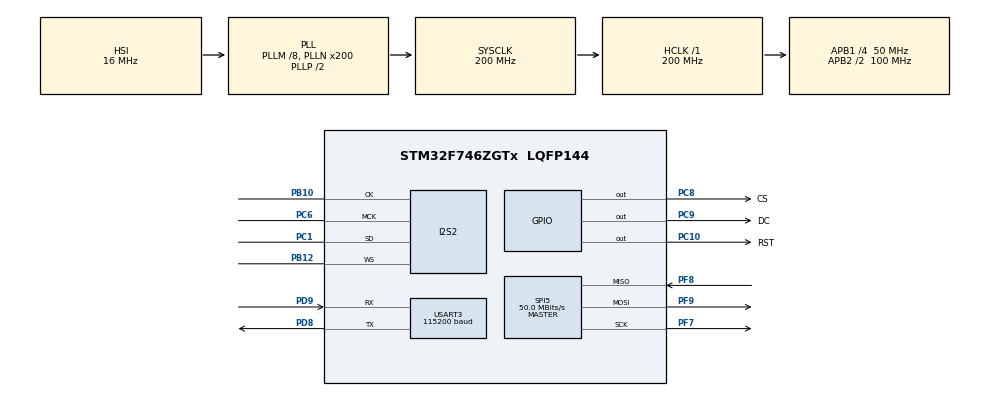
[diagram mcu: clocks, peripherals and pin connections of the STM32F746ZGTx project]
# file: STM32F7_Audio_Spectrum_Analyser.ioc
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CORTEX_M7.ART_ACCELERATOR_ENABLE=1
CORTEX_M7.CPU_DCache=Enabled
CORTEX_M7.CPU_ICache=Enabled
CORTEX_M7.PREFETCH_ENABLE=1
Dma.Request0=SPI2_RX
Dma.SPI2_RX.0.Direction=DMA_PERIPH_TO_MEMORY
Dma.SPI2_RX.0.FIFOMode=DMA_FIFOMODE_DISABLE
Dma.SPI2_RX.0.Instance=DMA1_Stream3
Dma.SPI2_RX.0.MemDataAlignment=DMA_MDATAALIGN_HALFWORD
Dma.SPI2_RX.0.MemInc=DMA_MINC_ENABLE
Dma.SPI2_RX.0.Mode=DMA_CIRCULAR
Dma.SPI2_RX.0.PeriphDataAlignment=DMA_PDATAALIGN_HALFWORD
Dma.SPI2_RX.0.PeriphInc=DMA_PINC_DISABLE
Dma.SPI2_RX.0.Priority=DMA_PRIORITY_VERY_HIGH
I2S2.AudioFreq=I2S_AUDIOFREQ_48K
I2S2.ErrorAudioFreq=1.72 %
I2S2.FullDuplexMode=I2S_FULLDUPLEXMODE_DISABLE
I2S2.Instance=SPI$Index
I2S2.Mode=I2S_MODE_MASTER_RX
I2S2.RealAudioFreq=48.828 KHz
I2S2.VirtualMode=I2S_MODE_MASTER
Mcu.Family=STM32F7
Mcu.Name=STM32F746ZGTx
Mcu.Package=LQFP144
NVIC.DMA1_Stream3_IRQn=true\:0\:0\:false\:false\:true\:false\:true\:true
NVIC.PriorityGroup=NVIC_PRIORITYGROUP_4
PA13.Mode=Serial_Wire
PA13.Signal=SYS_JTMS-SWDIO
PA14.Mode=Serial_Wire
PA14.Signal=SYS_JTCK-SWCLK
PB10.Mode=Half_Duplex_Master
PB10.Signal=I2S2_CK
PB12.Mode=Half_Duplex_Master
PB12.Signal=I2S2_WS
PC1.Mode=Half_Duplex_Master
PC1.Signal=I2S2_SD
PC10.GPIO_Label=RST
PC10.GPIO_Speed=GPIO_SPEED_FREQ_VERY_HIGH
PC10.Signal=GPIO_Output
PC6.Mode=Master_Clock_Activated
PC6.Signal=I2S2_MCK
PC8.GPIO_Label=CS
PC8.GPIO_Speed=GPIO_SPEED_FREQ_VERY_HIGH
PC8.Signal=GPIO_Output
PC9.GPIO_Label=DC
PC9.GPIO_Speed=GPIO_SPEED_FREQ_VERY_HIGH
PC9.Signal=GPIO_Output
PD8.Mode=Asynchronous
PD8.Signal=USART3_TX
PD9.Mode=Asynchronous
PD9.Signal=USART3_RX
PF7.Mode=Full_Duplex_Master
PF7.Signal=SPI5_SCK
PF8.Mode=Full_Duplex_Master
PF8.Signal=SPI5_MISO
PF9.Mode=Full_Duplex_Master
PF9.Signal=SPI5_MOSI
ProjectManager.HeapSize=0x200
ProjectManager.StackSize=0x400
ProjectManager.TargetToolchain=STM32CubeIDE
RCC.AHBFreq_Value=200000000
RCC.APB1CLKDivider=RCC_HCLK_DIV4
RCC.APB1Freq_Value=50000000
RCC.APB1TimFreq_Value=100000000
RCC.APB2CLKDivider=RCC_HCLK_DIV2
RCC.APB2Freq_Value=100000000
RCC.APB2TimFreq_Value=200000000
RCC.CortexFreq_Value=200000000
RCC.HCLKFreq_Value=200000000
RCC.HSE_VALUE=25000000
RCC.HSI_VALUE=16000000
RCC.LSE_VALUE=32768
RCC.PLLI2SN=200
RCC.PLLM=8
RCC.PLLN=200
RCC.SYSCLKFreq_VALUE=200000000
RCC.SYSCLKSource=RCC_SYSCLKSOURCE_PLLCLK
RCC.USBFreq_Value=200000000
RCC.VCOOutputFreq_Value=400000000
SPI5.BaudRatePrescaler=SPI_BAUDRATEPRESCALER_2
SPI5.CalculateBaudRate=50.0 MBits/s
SPI5.DataSize=SPI_DATASIZE_8BIT
SPI5.Direction=SPI_DIRECTION_2LINES
SPI5.Mode=SPI_MODE_MASTER
SPI5.NSSPMode=SPI_NSS_PULSE_DISABLE
SPI5.VirtualType=VM_MASTER
TIM1.ClockDivision=TIM_CLOCKDIVISION_DIV2
TIM1.Prescaler=10000
USART3.BaudRate=115200
USART3.Mode=MODE_TX_RX
USART3.VirtualMode-Asynchronous=VM_ASYNC
VP_TIM1_VS_ClockSourceINT.Mode=Internal
board=custom

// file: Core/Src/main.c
/* USER CODE BEGIN Header */
/**
  ******************************************************************************
  * @file           : main.c
  * @brief          : Main program body
  ******************************************************************************
  * @attention
  *
  * Copyright (c) 2023 STMicroelectronics.
  * All rights reserved.
  *
  * This software is licensed under terms that can be found in the LICENSE file
  * in the root directory of this software component.
  * If no LICENSE file comes with this software, it is provided AS-IS.
  *
  ******************************************************************************
  */
/* USER CODE END Header */
#include "main.h"

/* USER CODE BEGIN Includes */
#include "spi.h"
#include "gpio.h"
#include "tim.h"
#include <stdio.h>
#include "led.h"
#define ARM_MATH_CM7
#include "arm_math.h"
#include "ILI9341_STM32_Driver.h"
#include "ILI9341_GFX.h"

/* USER CODE END Includes */

/* USER CODE BEGIN PD */
#define ADC_BUFFER_SIZE 16384 // Buffer size to store data for processing, higher buffer creates larger latency
#define FFT_BUFFER_SIZE 4096
#define GPIOC_CLK_EN	(1U<<2)
#define PIN13	(1U<<13)
#define BTN_PIN	PIN13

/* USER CODE END PD */

I2S_HandleTypeDef hi2s2;
DMA_HandleTypeDef hdma_spi2_rx;

//SPI_HandleTypeDef hspi5;

//TIM_HandleTypeDef htim1;

UART_HandleTypeDef huart3;

/* USER CODE BEGIN PV */
const float INT16_TO_FLOAT = 1.0f/(32768.0f);
const float FLOAT_TO_INT16 = 32768.0f;

float real_fsample = 49350; // MEASURED WITH OSCILLOSCOPE
float fftBufIn[FFT_BUFFER_SIZE];
float fftBufOut[FFT_BUFFER_SIZE];
float freq_prev;
float fft_in_buf[FFT_BUFFER_SIZE];
float fft_out_buf[FFT_BUFFER_SIZE];

uint8_t fftFlag = 0; // When FFT is complete
uint8_t outarray[14];
uint8_t button = 0;
uint8_t dataReadyFlag = 0;

uint16_t leftOut = 0;
uint16_t rightOut = 0;
uint16_t inBufPtr; // Processing ptr
uint16_t freqs_prev[FFT_BUFFER_SIZE/2];

int16_t rxBuf[ADC_BUFFER_SIZE];  // DMA stream for data
int16_t txBuf[ADC_BUFFER_SIZE];

/* USER CODE END PV */

void SystemClock_Config(void);
//static void MX_GPIO_Init(void);
static void MX_DMA_Init(void);
static void MX_USART3_UART_Init(void);
static void MX_I2S2_Init(void);
//static void MX_SPI5_Init(void);
//static void MX_TIM1_Init(void);
/* USER CODE BEGIN PFP */
arm_rfft_fast_instance_f32 fft_handler;
void PeriphCommonClock_Config(void);
void MX_GPIO_Init(void);
void MX_SPI5_Init(void);

/* USER CODE END PFP */

/* USER CODE BEGIN 0 */
void PeriphCommonClock_Config(void) //Disappears when I2S1 disabled
{
  RCC_PeriphCLKInitTypeDef PeriphClkInitStruct = {0};

  /** Initializes the peripherals clock
  */
  PeriphClkInitStruct.PeriphClockSelection = RCC_PERIPHCLK_I2S;
  PeriphClkInitStruct.PLLI2S.PLLI2SN = 100;
  PeriphClkInitStruct.PLLI2S.PLLI2SP = RCC_PLLP_DIV2;
  PeriphClkInitStruct.PLLI2S.PLLI2SR = 2;
  PeriphClkInitStruct.PLLI2S.PLLI2SQ = 2;
  PeriphClkInitStruct.PLLI2SDivQ = 1;
  PeriphClkInitStruct.I2sClockSelection = RCC_I2SCLKSOURCE_PLLI2S;
  if (HAL_RCCEx_PeriphCLKConfig(&PeriphClkInitStruct) != HAL_OK)
  {
    Error_Handler();
  }
}

void DoFFT() {
	//Do FFT
	arm_rfft_fast_f32(&fft_handler, fft_in_buf, fft_out_buf,0);

	uint16_t peakVal = 0;
	int peak = 0;
	int freqs[FFT_BUFFER_SIZE/2];
	int index = 0;
	int freqpoint = 0;
	float freq = 0;
	char counter_buff[10];

	if (GPIOC->IDR & BTN_PIN) // If button is pressed
	{
		button = 1 - button;
		ILI9341_Fill_Screen(BLACK);
		HAL_Delay(50);
	}

	for (int i = 0; i < FFT_BUFFER_SIZE; i += 2)
	{
		freqs[freqpoint] = (int)(20*log(sqrtf(((fft_out_buf[i])*(fft_out_buf[i])) + ((fft_out_buf[i+1])*fft_out_buf[i+1]))));
		freqpoint ++;
	}

	for (int j = 0; j < FFT_BUFFER_SIZE/2; j +=1)
	{
		if(freqs[j] > peak)
		{
			peak = freqs[j];
			peakVal = j;

		}

		freq = (peakVal)/((FFT_BUFFER_SIZE)/real_fsample);

	}

	if(button == 0)
	{
		for (int j = 2; j < 322; j +=1)
		{
			ILI9341_Draw_Pixel(320-(j-2),(freqs_prev[j]+100), BLACK);
		}

		for (int j = 2; j < 322; j +=1)
		{
			ILI9341_Draw_Pixel(320-(j-2),(freqs[j]+100), WHITE);

		}
	}

	else
	{
		for (int j = 0; j < 320; j +=1)
		{
			index = index + 5;
			ILI9341_Draw_Pixel(320-(j),(freqs_prev[(index+322)]+100), BLACK);
		}
		index = 0;

		for (int j = 0; j < 320; j +=1)
		{
			index = index + 5;
			ILI9341_Draw_Pixel(320-(j),(freqs[(index+322)]+100), WHITE);
		}
	}

	ILI9341_Set_Rotation(SCREEN_HORIZONTAL_2);
	sprintf(counter_buff, "PEAK: %0.1f", freq_prev);
	ILI9341_Draw_Text(counter_buff, 80, 200, WHITE, 2, WHITE);
	sprintf(counter_buff, "PEAK: %0.1f", freq);
	ILI9341_Draw_Text(counter_buff, 80, 200, BLACK, 2, WHITE);
	ILI9341_Set_Rotation(SCREEN_HORIZONTAL_1);
	for (int i = 0; i < FFT_BUFFER_SIZE/2; i += 1)
	{
		freqs_prev[i] = freqs[i];
	}
	freq_prev = freq;
	printf("%d %0.1f %d \r\n",peakVal,freq,peak);

	dataReadyFlag = 0;
}

void HAL_I2S_RxHalfCpltCallback(I2S_HandleTypeDef *hi2s)
{
	dataReadyFlag = 1;
	led_toggle(BLUE_LED);
}

void HAL_I2S_RxCpltCallback(I2S_HandleTypeDef *hi2s)
{
	dataReadyFlag = 2;
	led_toggle(RED_LED);
}

/* USER CODE END 0 */

int main(void)
{

  /* Enable I-Cache---------------------------------------------------------*/
  SCB_EnableICache();

  /* Enable D-Cache---------------------------------------------------------*/
  SCB_EnableDCache();

  /* MCU Configuration--------------------------------------------------------*/

  /* Reset of all peripherals, Initializes the Flash interface and the Systick. */
  HAL_Init();

  /* Configure the system clock */
  SystemClock_Config();

  /* USER CODE BEGIN SysInit */
  PeriphCommonClock_Config(); // Disappears when I2S1 disabled
  /* USER CODE END SysInit */

  /* Initialize all configured peripherals */
  MX_GPIO_Init();
  MX_DMA_Init();
  MX_USART3_UART_Init();
  MX_I2S2_Init();
  MX_SPI5_Init();
  MX_TIM1_Init();
  /* USER CODE BEGIN 2 */
  ILI9341_Init();//initial driver setup to drive ili9341
  /*Initialise LEDs*/
  user_leds_init();

  /*Set PC13 as user button*/
  GPIOC->MODER &=~ (1U<<26);
  GPIOC->MODER &=~ (1U<<27);

  /*Initialise FFT*/
  arm_rfft_fast_init_f32(&fft_handler, FFT_BUFFER_SIZE);

  // Start I2S DMA streams
  HAL_StatusTypeDef status = HAL_I2S_Receive_DMA(&hi2s2, rxBuf, ADC_BUFFER_SIZE); // Start DMA stream
  if(status != HAL_OK)
  {
	  led_on(RED_LED);
  }
  else
  {
	  led_on(GREEN_LED);
  }

  ILI9341_Fill_Screen(BLACK);
  ILI9341_Set_Rotation(SCREEN_HORIZONTAL_1);

  /* USER CODE END 2 */

  /* Infinite loop */
  /* USER CODE BEGIN WHILE */
  //float peakVal
  //= 0.0f;
  //uint16_t peakHz = 0;

  while (1)
  {

	  int fft_in_ptr = 0;
	  if (dataReadyFlag == 1)
	  {
		  //processData();
		  //dataReadyFlag = 0;
		  for (int i = 0; i < (ADC_BUFFER_SIZE/2); i += 2)
		  {
//			  fft_in_buf[fft_in_ptr] = (float) ((uint32_t) (rxBuf[i]<<16)|rxBuf[i+1]);
//			  fft_in_buf[fft_in_ptr] += (float) ((uint32_t) (rxBuf[i+2]<<16)|rxBuf[i+3]);

			  //fft_in_buf[fft_in_ptr] = Moving_Average_Compute(rxBuf[i], &filterStruct);
			  fft_in_buf[fft_in_ptr] = INT16_TO_FLOAT*((float)rxBuf[i]);

			  txBuf[i] = rxBuf[i];
			  //txBuf[i+1] = rxBuf[i+1];
			  //txBuf[i+2] = rxBuf[i+2];
			  //txBuf[i+3] = rxBuf[i+3];
			  fft_in_ptr++;

		  }
		  DoFFT();
	  }

	  if (dataReadyFlag == 2)
	  {
		  //processData();
		  //dataReadyFlag = 0;
		  for (int i = (ADC_BUFFER_SIZE/2); i < ADC_BUFFER_SIZE; i += 2)
		  {
			  //fft_in_buf[fft_in_ptr] = (float) ((int) (rxBuf[i]<<16)|rxBuf[i+1]);
			  //fft_in_buf[fft_in_ptr] += (float) ((int) (rxBuf[i+2]<<16)|rxBuf[i+3]);
			  fft_in_buf[fft_in_ptr] = INT16_TO_FLOAT*((float)rxBuf[i]) ;
			  txBuf[i] = rxBuf[i];
			  //txBuf[i+1] = rxBuf[i+1];
			  //txBuf[i+2] = rxBuf[i+2];
			  //txBuf[i+3] = rxBuf[i+3];
			  fft_in_ptr++;
			  //printf("%d\r\n",txBuf[i]);

		  }
		  DoFFT();
	  }

//	  if (fftFlag)
//	  {
//		   peakVal = 0.0f;
//		   peakHz = 0.0f;
//
//		   uint16_t freqIndex = 0;
//
//		   for (uint16_t index = 0; index < FFT_BUFFER_SIZE; index += 2)
//		   {
//			   float curVal = sqrtf((fftBufOut[index] * fftBufOut[index])+(fftBufOut[index + 1] * fftBufOut[index + 1]));
//
//			   if (curVal > peakVal)
//			   {
//				   peakVal = curVal;
//				   peakHz = (uint16_t)(freqIndex * SAMPLE_RATE_HZ / ((float) FFT_BUFFER_SIZE));
//			   }
//
//			   freqIndex++;
//		   }
//
//		   fftFlag = 0;
//	  }

//	  		ILI9341_Fill_Screen(WHITE);
//	  		ILI9341_Set_Rotation(SCREEN_HORIZONTAL_2);
//	  		ILI9341_Draw_Text("FPS TEST, 40 loop 2 screens", 10, 10, BLACK, 1, WHITE);
//	  		HAL_Delay(2000);
//	  		ILI9341_Fill_Screen(WHITE);
//
//	  		uint32_t Timer_Counter = 0;
//	  		for(uint32_t j = 0; j < 2; j++)
//	  		{
//	  			HAL_TIM_Base_Start(&htim1);
//	  			for(uint16_t i = 0; i < 10; i++)
//	  			{
//	  				ILI9341_Fill_Screen(WHITE);
//	  				ILI9341_Fill_Screen(BLACK);
//	  			}
//
//	  			//20.000 per second!
//	  			HAL_TIM_Base_Stop(&htim1);
//	  			Timer_Counter += __HAL_TIM_GET_COUNTER(&htim1);
//	  			__HAL_TIM_SET_COUNTER(&htim1, 0);
//	  		}
//	  		Timer_Counter /= 2;
//
//	  		char counter_buff[30];
//	  		ILI9341_Fill_Screen(WHITE);
//	  		ILI9341_Set_Rotation(SCREEN_HORIZONTAL_2);
//	  		sprintf(counter_buff, "Timer counter value: %d", Timer_Counter*2);
//	  		ILI9341_Draw_Text(counter_buff, 10, 10, BLACK, 1, WHITE);
//
//	  		double seconds_passed = 2*((float)Timer_Counter / 20000);
//	  		sprintf(counter_buff, "Time: %.3f Sec", seconds_passed);
//	  		ILI9341_Draw_Text(counter_buff, 10, 30, BLACK, 2, WHITE);
//
//	  		double timer_float = 20/(((float)Timer_Counter)/20000);	//Frames per sec
//
//	  		sprintf(counter_buff, "FPS:  %.2f", timer_float);
//	  		ILI9341_Draw_Text(counter_buff, 10, 50, BLACK, 2, WHITE);
//	  		double MB_PS = timer_float*240*320*2/1000000;
//	  		sprintf(counter_buff, "MB/S: %.2f", MB_PS);
//	  		ILI9341_Draw_Text(counter_buff, 10, 70, BLACK, 2, WHITE);
//	  		double SPI_utilized_percentage = (MB_PS/(6.25 ))*100;		//50mbits / 8 bits
//	  		sprintf(counter_buff, "SPI Utilized: %.2f", SPI_utilized_percentage);
//	  		ILI9341_Draw_Text(counter_buff, 10, 90, BLACK, 2, WHITE);
//	  		HAL_Delay(10000);

//	  		ILI9341_Fill_Screen(BLACK);
//	  		ILI9341_Set_Rotation(SCREEN_HORIZONTAL_2);
//	  		ILI9341_Draw_Text("Randomly placed and sized", 10, 10, WHITE, 1, BLACK);
//	  		ILI9341_Draw_Text("Filled Rectangles", 10, 20, RED, 1, BLACK);
//
//	  		HAL_Delay(500);
//	  		ILI9341_Fill_Screen(BLACK);
	  //HAL_Delay(100);

    /* USER CODE END WHILE */

  }
}

void SystemClock_Config(void)
{
  RCC_OscInitTypeDef RCC_OscInitStruct = {0};
  RCC_ClkInitTypeDef RCC_ClkInitStruct = {0};

  /** Configure the main internal regulator output voltage
  */
  __HAL_RCC_PWR_CLK_ENABLE();
  __HAL_PWR_VOLTAGESCALING_CONFIG(PWR_REGULATOR_VOLTAGE_SCALE1);

  /** Initializes the RCC Oscillators according to the specified parameters
  * in the RCC_OscInitTypeDef structure.
  */
  RCC_OscInitStruct.OscillatorType = RCC_OSCILLATORTYPE_HSI;
  RCC_OscInitStruct.HSIState = RCC_HSI_ON;
  RCC_OscInitStruct.HSICalibrationValue = RCC_HSICALIBRATION_DEFAULT;
  RCC_OscInitStruct.PLL.PLLState = RCC_PLL_ON;
  RCC_OscInitStruct.PLL.PLLSource = RCC_PLLSOURCE_HSI;
  RCC_OscInitStruct.PLL.PLLM = 8;
  RCC_OscInitStruct.PLL.PLLN = 200;
  RCC_OscInitStruct.PLL.PLLP = RCC_PLLP_DIV2;
  RCC_OscInitStruct.PLL.PLLQ = 2;
  if (HAL_RCC_OscConfig(&RCC_OscInitStruct) != HAL_OK)
  {
    Error_Handler();
  }

  /** Activate the Over-Drive mode
  */
  if (HAL_PWREx_EnableOverDrive() != HAL_OK)
  {
    Error_Handler();
  }

  /** Initializes the CPU, AHB and APB buses clocks
  */
  RCC_ClkInitStruct.ClockType = RCC_CLOCKTYPE_HCLK|RCC_CLOCKTYPE_SYSCLK
                              |RCC_CLOCKTYPE_PCLK1|RCC_CLOCKTYPE_PCLK2;
  RCC_ClkInitStruct.SYSCLKSource = RCC_SYSCLKSOURCE_PLLCLK;
  RCC_ClkInitStruct.AHBCLKDivider = RCC_SYSCLK_DIV1;
  RCC_ClkInitStruct.APB1CLKDivider = RCC_HCLK_DIV4;
  RCC_ClkInitStruct.APB2CLKDivider = RCC_HCLK_DIV2;

  if (HAL_RCC_ClockConfig(&RCC_ClkInitStruct, FLASH_LATENCY_6) != HAL_OK)
  {
    Error_Handler();
  }
}

static void MX_I2S2_Init(void)
{

  hi2s2.Instance = SPI2;
  hi2s2.Init.Mode = I2S_MODE_MASTER_RX;
  hi2s2.Init.Standard = I2S_STANDARD_PHILIPS;
  hi2s2.Init.DataFormat = I2S_DATAFORMAT_16B;
  hi2s2.Init.MCLKOutput = I2S_MCLKOUTPUT_ENABLE;
  hi2s2.Init.AudioFreq = I2S_AUDIOFREQ_48K;
  hi2s2.Init.CPOL = I2S_CPOL_LOW;
  hi2s2.Init.ClockSource = I2S_CLOCK_PLL;
  if (HAL_I2S_Init(&hi2s2) != HAL_OK)
  {
    Error_Handler();
  }

}

//static void MX_SPI5_Init(void)
//{
//
//  /* USER CODE BEGIN SPI5_Init 0 */
//////////
//  /* USER CODE END SPI5_Init 0 */
//
//  /* USER CODE BEGIN SPI5_Init 1 */
//////////
//  /* USER CODE END SPI5_Init 1 */
//  /* SPI5 parameter configuration*/
//  hspi5.Instance = SPI5;
//  hspi5.Init.Mode = SPI_MODE_MASTER;
//  hspi5.Init.Direction = SPI_DIRECTION_2LINES;
//  hspi5.Init.DataSize = SPI_DATASIZE_8BIT;
//  hspi5.Init.CLKPolarity = SPI_POLARITY_LOW;
//  hspi5.Init.CLKPhase = SPI_PHASE_1EDGE;
//  hspi5.Init.NSS = SPI_NSS_SOFT;
//  hspi5.Init.BaudRatePrescaler = SPI_BAUDRATEPRESCALER_2;
//  hspi5.Init.FirstBit = SPI_FIRSTBIT_MSB;
//  hspi5.Init.TIMode = SPI_TIMODE_DISABLE;
//  hspi5.Init.CRCCalculation = SPI_CRCCALCULATION_DISABLE;
//  hspi5.Init.CRCPolynomial = 7;
//  hspi5.Init.CRCLength = SPI_CRC_LENGTH_DATASIZE;
//  hspi5.Init.NSSPMode = SPI_NSS_PULSE_DISABLE;
//  if (HAL_SPI_Init(&hspi5) != HAL_OK)
//  {
//    Error_Handler();
//  }
//  /* USER CODE BEGIN SPI5_Init 2 */
//////////
//  /* USER CODE END SPI5_Init 2 */
//
//}

//static void MX_TIM1_Init(void)
//{
//
//  /* USER CODE BEGIN TIM1_Init 0 */
//
//  /* USER CODE END TIM1_Init 0 */
//
//  TIM_ClockConfigTypeDef sClockSourceConfig = {0};
//  TIM_MasterConfigTypeDef sMasterConfig = {0};
//
//  /* USER CODE BEGIN TIM1_Init 1 */
//
//  /* USER CODE END TIM1_Init 1 */
//  htim1.Instance = TIM1;
//  htim1.Init.Prescaler = 10000;
//  htim1.Init.CounterMode = TIM_COUNTERMODE_UP;
//  htim1.Init.Period = 65535;
//  htim1.Init.ClockDivision = TIM_CLOCKDIVISION_DIV2;
//  htim1.Init.RepetitionCounter = 0;
//  htim1.Init.AutoReloadPreload = TIM_AUTORELOAD_PRELOAD_DISABLE;
//  if (HAL_TIM_Base_Init(&htim1) != HAL_OK)
//  {
//    Error_Handler();
//  }
//  sClockSourceConfig.ClockSource = TIM_CLOCKSOURCE_INTERNAL;
//  if (HAL_TIM_ConfigClockSource(&htim1, &sClockSourceConfig) != HAL_OK)
//  {
//    Error_Handler();
//  }
//  sMasterConfig.MasterOutputTrigger = TIM_TRGO_RESET;
//  sMasterConfig.MasterOutputTrigger2 = TIM_TRGO2_RESET;
//  sMasterConfig.MasterSlaveMode = TIM_MASTERSLAVEMODE_DISABLE;
//  if (HAL_TIMEx_MasterConfigSynchronization(&htim1, &sMasterConfig) != HAL_OK)
//  {
//    Error_Handler();
//  }
//  /* USER CODE BEGIN TIM1_Init 2 */
//
//  /* USER CODE END TIM1_Init 2 */
//
//}

static void MX_USART3_UART_Init(void)
{

  huart3.Instance = USART3;
  huart3.Init.BaudRate = 115200;
  huart3.Init.WordLength = UART_WORDLENGTH_8B;
  huart3.Init.StopBits = UART_STOPBITS_1;
  huart3.Init.Parity = UART_PARITY_NONE;
  huart3.Init.Mode = UART_MODE_TX_RX;
  huart3.Init.HwFlowCtl = UART_HWCONTROL_NONE;
  huart3.Init.OverSampling = UART_OVERSAMPLING_16;
  huart3.Init.OneBitSampling = UART_ONE_BIT_SAMPLE_DISABLE;
  huart3.AdvancedInit.AdvFeatureInit = UART_ADVFEATURE_NO_INIT;
  if (HAL_UART_Init(&huart3) != HAL_OK)
  {
    Error_Handler();
  }

}

static void MX_DMA_Init(void)
{

  /* DMA controller clock enable */
  __HAL_RCC_DMA1_CLK_ENABLE();

  /* DMA interrupt init */
  /* DMA1_Stream3_IRQn interrupt configuration */
  HAL_NVIC_SetPriority(DMA1_Stream3_IRQn, 0, 0);
  HAL_NVIC_EnableIRQ(DMA1_Stream3_IRQn);

}

//static void MX_GPIO_Init(void)
//{
//  GPIO_InitTypeDef GPIO_InitStruct = {0};
///* USER CODE BEGIN MX_GPIO_Init_1 */
///* USER CODE END MX_GPIO_Init_1 */
//
//  /* GPIO Ports Clock Enable */
//  __HAL_RCC_GPIOF_CLK_ENABLE();
//  __HAL_RCC_GPIOC_CLK_ENABLE();
//  __HAL_RCC_GPIOB_CLK_ENABLE();
//  __HAL_RCC_GPIOD_CLK_ENABLE();
//  __HAL_RCC_GPIOA_CLK_ENABLE();
//
//  /*Configure GPIO pin Output Level */
//  HAL_GPIO_WritePin(GPIOC, CS_Pin|DC_Pin|RST_Pin, GPIO_PIN_RESET);
//
//  /*Configure GPIO pins : CS_Pin DC_Pin RST_Pin */
//  GPIO_InitStruct.Pin = CS_Pin|DC_Pin|RST_Pin;
//  GPIO_InitStruct.Mode = GPIO_MODE_OUTPUT_PP;
//  GPIO_InitStruct.Pull = GPIO_NOPULL;
//  GPIO_InitStruct.Speed = GPIO_SPEED_FREQ_VERY_HIGH;
//  HAL_GPIO_Init(GPIOC, &GPIO_InitStruct);
//
///* USER CODE BEGIN MX_GPIO_Init_2 */
///* USER CODE END MX_GPIO_Init_2 */
//}

/* USER CODE BEGIN 4 */
int _write(int file, char *ptr, int len)
{
	HAL_UART_Transmit(&huart3, (uint8_t *) ptr, len, HAL_MAX_DELAY);
	return len;
}

/* USER CODE END 4 */

void Error_Handler(void)
{
  __disable_irq();
  while (1)
  {
  }
}
